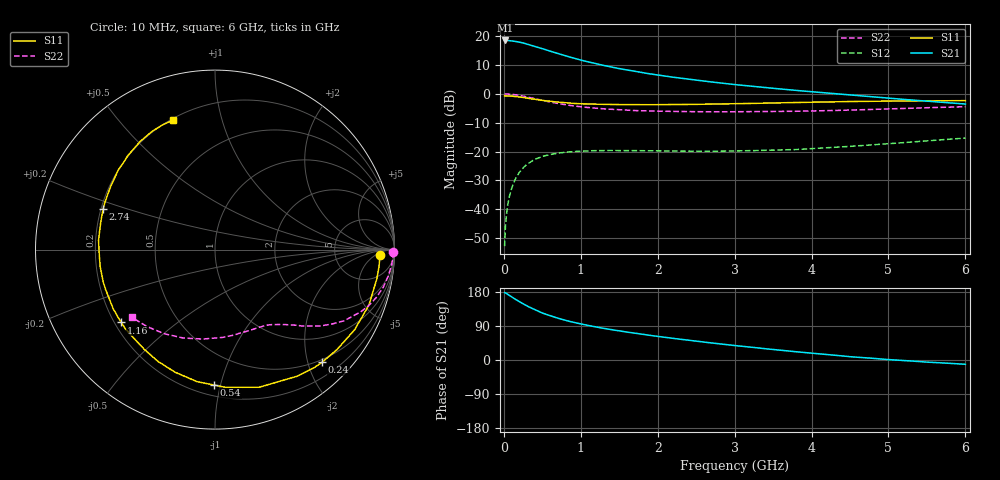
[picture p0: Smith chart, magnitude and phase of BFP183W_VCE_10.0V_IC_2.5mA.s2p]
! Infineon Technologies  Discrete & RF Semiconductors
! BFP183W
! VCE = 10.0V,  IC =  2.5 mA
! Common Emitter S-Parameters:  Jan 2016
# GHz  S  MA  R  50
!  f  S11  S21  S12  S22
! GHz  MAG  ANG  MAG  ANG  MAG  ANG  MAG  ANG
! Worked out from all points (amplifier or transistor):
!   210 points, 10 MHz to 6 GHz, reference 50 ohm
!   highest |S21| = 18.4 dB at 20 MHz (marker M1)
!   |S21| within 3 dB of that: start of sweep to 518.1 MHz
!   unconditionally stable (mu >= 1): 2.321 GHz to 5.987 GHz
!   at 185 MHz: K = 0.10, MSG = 22.9 dB, |S12| = -27.9 dB
!   at 1.52 GHz: K = 0.68, MSG = 14.1 dB, |S12| = -19.7 dB
!   at 6 GHz: K = 1.00, MSG = 5.9 dB, |S12| = -15.3 dB
!   S11 on the Smith chart (normalised r, x): 10 MHz: 20, -9; 240 MHz: 0.45, -2.26; 540 MHz: 0.27, -0.95; 1.16 GHz: 0.23, -0.33; 2.74 GHz: 0.21, +0.17; 6 GHz: 0.21, +0.71
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0.01  0.9203 -2.0  8.305 177.8  0.0023 87.5  0.994 -0.9
0.02  0.9188 -4.0  8.353 177.3  0.0048 84.4  0.9882 -1.8
0.05  0.9163 -10.2  8.343 173.3  0.0118 83.6  0.9896 -4.4
0.09  0.9105 -18.0  8.229 168.1  0.0204 78.5  0.9791 -7.8
0.17  0.8868 -33.6  7.957 157.7  0.0373 70.5  0.9505 -14.2
0.24  0.8662 -46.4  7.614 149.6  0.0502 63.7  0.9156 -19.5
0.3  0.8419 -56.8  7.243 142.5  0.0599 58.4  0.8812 -23.3
0.4  0.8055 -72.2  6.629 132.8  0.0728 50.5  0.8222 -28.8
0.5  0.7691 -85.8  6.021 124.0  0.0823 44.3  0.7671 -32.9
0.54  0.7546 -90.5  5.786 121.3  0.0848 42.0  0.7477 -34.2
0.7  0.7182 -108.1  4.984 110.4  0.0937 34.8  0.6789 -38.8
0.8  0.6993 -117.0  4.528 104.7  0.0972 31.2  0.6448 -41.3
1.02  0.6687 -133.4  3.761 94.4  0.1015 25.4  0.5905 -45.3
1.16  0.6611 -142.1  3.397 88.7  0.1033 22.6  0.5667 -47.5
1.38  0.6513 -153.6  2.928 80.7  0.104 19.5  0.5396 -50.7
1.6  0.6484 -163.7  2.579 73.6  0.1039 17.8  0.5187 -53.8
2.02  0.6462 -179.3  2.091 61.8  0.1026 16.6  0.4983 -60.2
2.74  0.6627 160.0  1.575 44.1  0.1012 18.6  0.4859 -72.3
3.1  0.6746 151.3  1.4 36.2  0.1027 20.8  0.4876 -79.1
4.1  0.7164 131.3  1.056 16.4  0.1142 28.4  0.5056 -100.6
5.1  0.7471 117.0  0.817 -0.1  0.1394 32.7  0.5509 -123.3
6  0.7584 107.9  0.663 -11.3  0.1709 32.7  0.5975 -140.9
